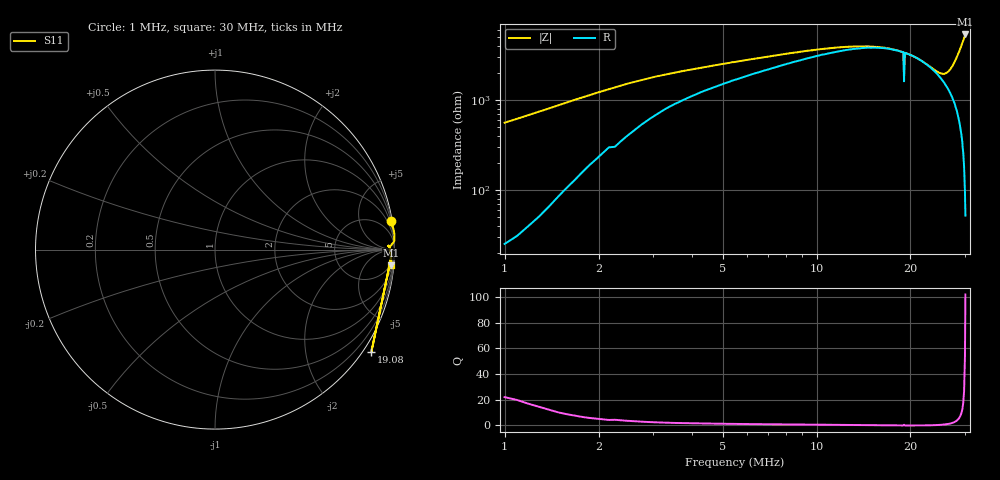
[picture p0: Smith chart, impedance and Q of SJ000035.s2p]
!File created by NanoVNA-F V2
# Hz S RI R 50
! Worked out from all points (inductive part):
!   301 points, 1 MHz to 30 MHz, reference 50 ohm
!   read as one part in series: L = 93.9 uH near 1.097 MHz
!   highest Q = 102 at 30 MHz (marker M1), where L = 28.3 uH
!   S11 on the Smith chart (normalised r, x): 1 MHz: 1, +13; 19.08 MHz: -0.24, -3.35; 30 MHz: 4, -22
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1000000  0.9805 0.1572  0.0381 -0.17  0 0  0 0
1386664  0.9965 0.1045  0.0246 -0.1193  0 0  0 0
1773328  0.9994 0.0667  0.0219 -0.0894  0 0  0 0
2256658  0.9884 0.0343  0.0203 -0.068  0 0  0 0
2739988  0.9721 0.0204  0.0219 -0.0547  0 0  0 0
3223318  0.9659 0.0217  0.0231 -0.0461  0 0  0 0
3899980  0.9679 0.0194  0.024 -0.0383  0 0  0 0
5833300  0.9744 0.00962  0.024 -0.0262  0 0  0 0
8249950  0.9772 -0.00471  0.0233 -0.018  0 0  0 0
1.06666e7  0.9786 -0.0151  0.0231 -0.0127  0 0  0 0
1.308325e7  0.9794 -0.0241  0.0235 -0.00841  0 0  0 0
1.54999e7  0.9804 -0.0349  0.0246 -0.00507  0 0  0 0
1.897988e7  0.9801 -0.0475  0.0287 -0.00137  0 0  0 0
1.907654e7  0.8716 -0.568  0.0459 -0.0239  0 0  0 0
1.917321e7  0.9806 -0.049  0.029 -0.00136  0 0  0 0
2.03332e7  0.9795 -0.053  0.0314 -0.00107  0 0  0 0
2.410317e7  0.9814 -0.065  0.0437 -0.0124  0 0  0 0
2.51665e7  0.9818 -0.0676  0.043 -0.0232  0 0  0 0
2.613316e7  0.9807 -0.0736  0.035 -0.0331  0 0  0 0
2.729315e7  0.9816 -0.0767  0.0192 -0.0361  0 0  0 0
2.864648e7  0.9817 -0.0829  0.00575 -0.0283  0 0  0 0
2.99998e7  0.9812 -0.0867  0.000536 -0.0187  0 0  0 0
